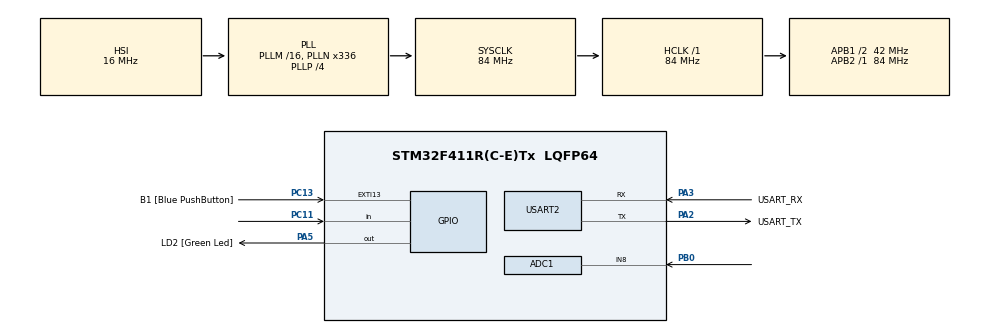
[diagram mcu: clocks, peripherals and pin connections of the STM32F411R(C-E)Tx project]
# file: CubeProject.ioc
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Mcu.Family=STM32F4
RCC.CortexFreq_Value=84000000
PA14.GPIO_Label=TCK
RCC.SYSCLKSource=RCC_SYSCLKSOURCE_PLLCLK
ProjectManager.StackSize=0x400
PH0\ -\ OSC_IN.Signal=RCC_OSC_IN
RCC.HCLKFreq_Value=84000000
RCC.APB2TimFreq_Value=84000000
Dma.ADC1.0.Direction=DMA_PERIPH_TO_MEMORY
NVIC.DMA2_Stream0_IRQn=true\:0\:0\:false\:false\:true\:false\:true
Dma.ADC1.0.MemDataAlignment=DMA_MDATAALIGN_HALFWORD
RCC.AHBFreq_Value=84000000
TIM3.ClockDivision=TIM_CLOCKDIVISION_DIV1
ADC1.Channel-0\#ChannelRegularConversion=ADC_CHANNEL_8
RCC.HSE_VALUE=8000000
ADC1.ScanConvMode=ENABLE
PC13-ANTI_TAMP.Signal=GPXTI13
PC14-OSC32_IN.Mode=LSE-External-Oscillator
PA14.Mode=Serial_Wire
TIM3.Prescaler=65535
Dma.ADC1.0.PeriphInc=DMA_PINC_DISABLE
SH.ADCx_IN8.0=ADC1_IN8,IN8
ADC1.SamplingTime-0\#ChannelRegularConversion=ADC_SAMPLETIME_3CYCLES
RCC.FLatency-AdvancedSettings=FLASH_LATENCY_2
Mcu.Package=LQFP64
TIM2.Prescaler=1000
USART2.VirtualMode=VM_ASYNC
PA2.GPIO_Label=USART_TX
TIM2.TIM_MasterOutputTrigger=TIM_TRGO_UPDATE
RCC.APB1TimFreq_Value=84000000
Dma.ADC1.0.FIFOMode=DMA_FIFOMODE_DISABLE
Dma.Request0=ADC1
VP_TIM3_VS_ClockSourceINT.Mode=Internal
PA3.Signal=USART2_RX
PB3.GPIO_Label=SWO
PC15-OSC32_OUT.Mode=LSE-External-Oscillator
Dma.ADC1.0.Instance=DMA2_Stream0
ADC1.Rank-0\#ChannelRegularConversion=1
PC13-ANTI_TAMP.GPIO_Label=B1 [Blue PushButton]
PC11.Signal=GPIO_Input
PH1\ -\ OSC_OUT.Mode=HSE-External-Oscillator
RCC.APB1CLKDivider=RCC_HCLK_DIV2
PC14-OSC32_IN.Signal=RCC_OSC32_IN
PA13.Signal=SYS_JTMS-SWDIO
PA3.Mode=Asynchronous
Dma.ADC1.0.PeriphDataAlignment=DMA_PDATAALIGN_HALFWORD
PH0\ -\ OSC_IN.Mode=HSE-External-Oscillator
ProjectManager.TargetToolchain=STM32CubeIDE
Dma.ADC1.0.Mode=DMA_CIRCULAR
Dma.ADC1.0.Priority=DMA_PRIORITY_LOW
PC15-OSC32_OUT.Signal=RCC_OSC32_OUT
PA5.Signal=GPIO_Output
PH1\ -\ OSC_OUT.Signal=RCC_OSC_OUT
board=NUCLEO-F411RE
RCC.VCOOutputFreq_Value=336000000
NVIC.TIM3_IRQn=true\:0\:0\:false\:false\:true\:true\:true
RCC.APB2Freq_Value=84000000
VP_TIM2_VS_ClockSourceINT.Mode=Internal
ADC1.DMAContinuousRequests=ENABLE
ADC1.NbrOfConversion=1
PA13.Mode=Serial_Wire
Mcu.Name=STM32F411R(C-E)Tx
PA13.GPIO_Label=TMS
PA2.Signal=USART2_TX
ADC1.ExternalTrigConv=ADC_EXTERNALTRIGCONV_T2_TRGO
RCC.48MHZClocksFreq_Value=84000000
PB3.Signal=SYS_JTDO-SWO
RCC.SYSCLKFreq_VALUE=84000000
ADC1.master=1
PA5.GPIO_Label=LD2 [Green Led]
PC13-ANTI_TAMP.GPIO_ModeDefaultEXTI=GPIO_MODE_IT_FALLING
PA14.Signal=SYS_JTCK-SWCLK
Dma.ADC1.0.MemInc=DMA_MINC_ENABLE
ProjectManager.HeapSize=0x200
RCC.HSI_VALUE=16000000
RCC.PLLP=RCC_PLLP_DIV4
NVIC.PriorityGroup=NVIC_PRIORITYGROUP_0
ADC1.NbrOfConversionFlag=1
RCC.PLLN=336
PA2.Mode=Asynchronous
TIM3.TIM_MasterOutputTrigger=TIM_TRGO_UPDATE
RCC.APB1Freq_Value=42000000
PB0.Signal=ADCx_IN8
PA3.GPIO_Label=USART_RX

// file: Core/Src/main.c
/* USER CODE BEGIN Header */
/**
  ******************************************************************************
  * @file           : main.c
  * @brief          : Main program body
  ******************************************************************************
  * @attention
  *
  * <h2><center>&copy; Copyright (c) 2021 STMicroelectronics.
  * All rights reserved.</center></h2>
  *
  * This software component is licensed by ST under BSD 3-Clause license,
  * the "License"; You may not use this file except in compliance with the
  * License. You may obtain a copy of the License at:
  *                        opensource.org/licenses/BSD-3-Clause
  *
  ******************************************************************************
  */
/* USER CODE END Header */
#include "main.h"

/* USER CODE BEGIN Includes */
#include <stdio.h>
/* USER CODE END Includes */

/* USER CODE BEGIN PTD */
typedef enum {
	INACTIVE = 0, ACTIVE
}STATE;

typedef struct {
	STATE state;
	uint32_t current;
	uint32_t target;
	uint8_t flag;
}VIRTUAL_TIMER;

/* USER CODE END PTD */

/* USER CODE BEGIN PD */
// -- Motion sensor pins -- //
#define MOTION_SENSOR_PIN GPIO_PIN_11
#define MOTION_SENSOR_PORT GPIOC

#define MAX_STEPS_CURTAIN 10000

#define WAKEUP_TIME 10 // time in seconds

/* USER CODE END PD */

ADC_HandleTypeDef hadc1;
DMA_HandleTypeDef hdma_adc1;

TIM_HandleTypeDef htim2;
TIM_HandleTypeDef htim3;

UART_HandleTypeDef huart2;

/* USER CODE BEGIN PV */
uint32_t lightRaw = 0;
volatile GPIO_PinState motion = 0;
volatile VIRTUAL_TIMER wakeupTimer;
volatile STATE systemState = ACTIVE;
/* USER CODE END PV */

void SystemClock_Config(void);
static void MX_GPIO_Init(void);
static void MX_DMA_Init(void);
static void MX_USART2_UART_Init(void);
static void MX_ADC1_Init(void);
static void MX_TIM2_Init(void);
static void MX_TIM3_Init(void);
/* USER CODE BEGIN PFP */
void VirtualTimer_Init(VIRTUAL_TIMER *);
void VirtualTimer_Increment(VIRTUAL_TIMER *);
void VirtualTimer_Restart(VIRTUAL_TIMER *);
void VirtualTimer_Disable(VIRTUAL_TIMER *);
uint8_t VirtualTimer_Finished(VIRTUAL_TIMER *);
/* USER CODE END PFP */

int main(void)
{

  /* MCU Configuration--------------------------------------------------------*/

  /* Reset of all peripherals, Initializes the Flash interface and the Systick. */
  HAL_Init();

  /* Configure the system clock */
  SystemClock_Config();

  /* Initialize all configured peripherals */
  MX_GPIO_Init();
  MX_DMA_Init();
  MX_USART2_UART_Init();
  MX_ADC1_Init();
  MX_TIM2_Init();
  MX_TIM3_Init();
  /* USER CODE BEGIN 2 */
  // Timer Initialization
  HAL_TIM_Base_Start(&htim2);
  HAL_TIM_Base_Start_IT(&htim3);
  // Circular sampling from 1 channel every 1ms
  HAL_ADC_Start_DMA(&hadc1, &lightRaw, 1);
  VirtualTimer_Init(&wakeupTimer);
  printf("Setup successful! \n\r");
  /* USER CODE END 2 */

  /* Infinite loop */
  /* USER CODE BEGIN WHILE */
  while (1)
  {
	  HAL_Delay(1000);
	  printf("LIGHT: %ld\n\r", lightRaw);
	  printf("MOTION: %d\n\r", (uint16_t)motion);
	  printf("WAKEUP: %d\n\r", (uint16_t)systemState);

    /* USER CODE END WHILE */

  }
}

void SystemClock_Config(void)
{
  RCC_OscInitTypeDef RCC_OscInitStruct = {0};
  RCC_ClkInitTypeDef RCC_ClkInitStruct = {0};

  /** Configure the main internal regulator output voltage
  */
  __HAL_RCC_PWR_CLK_ENABLE();
  __HAL_PWR_VOLTAGESCALING_CONFIG(PWR_REGULATOR_VOLTAGE_SCALE1);
  /** Initializes the RCC Oscillators according to the specified parameters
  * in the RCC_OscInitTypeDef structure.
  */
  RCC_OscInitStruct.OscillatorType = RCC_OSCILLATORTYPE_HSI;
  RCC_OscInitStruct.HSIState = RCC_HSI_ON;
  RCC_OscInitStruct.HSICalibrationValue = RCC_HSICALIBRATION_DEFAULT;
  RCC_OscInitStruct.PLL.PLLState = RCC_PLL_ON;
  RCC_OscInitStruct.PLL.PLLSource = RCC_PLLSOURCE_HSI;
  RCC_OscInitStruct.PLL.PLLM = 16;
  RCC_OscInitStruct.PLL.PLLN = 336;
  RCC_OscInitStruct.PLL.PLLP = RCC_PLLP_DIV4;
  RCC_OscInitStruct.PLL.PLLQ = 4;
  if (HAL_RCC_OscConfig(&RCC_OscInitStruct) != HAL_OK)
  {
    Error_Handler();
  }
  /** Initializes the CPU, AHB and APB buses clocks
  */
  RCC_ClkInitStruct.ClockType = RCC_CLOCKTYPE_HCLK|RCC_CLOCKTYPE_SYSCLK
                              |RCC_CLOCKTYPE_PCLK1|RCC_CLOCKTYPE_PCLK2;
  RCC_ClkInitStruct.SYSCLKSource = RCC_SYSCLKSOURCE_PLLCLK;
  RCC_ClkInitStruct.AHBCLKDivider = RCC_SYSCLK_DIV1;
  RCC_ClkInitStruct.APB1CLKDivider = RCC_HCLK_DIV2;
  RCC_ClkInitStruct.APB2CLKDivider = RCC_HCLK_DIV1;

  if (HAL_RCC_ClockConfig(&RCC_ClkInitStruct, FLASH_LATENCY_2) != HAL_OK)
  {
    Error_Handler();
  }
}

static void MX_ADC1_Init(void)
{

  ADC_ChannelConfTypeDef sConfig = {0};

  /** Configure the global features of the ADC (Clock, Resolution, Data Alignment and number of conversion)
  */
  hadc1.Instance = ADC1;
  hadc1.Init.ClockPrescaler = ADC_CLOCK_SYNC_PCLK_DIV4;
  hadc1.Init.Resolution = ADC_RESOLUTION_12B;
  hadc1.Init.ScanConvMode = ENABLE;
  hadc1.Init.ContinuousConvMode = DISABLE;
  hadc1.Init.DiscontinuousConvMode = DISABLE;
  hadc1.Init.ExternalTrigConvEdge = ADC_EXTERNALTRIGCONVEDGE_RISING;
  hadc1.Init.ExternalTrigConv = ADC_EXTERNALTRIGCONV_T2_TRGO;
  hadc1.Init.DataAlign = ADC_DATAALIGN_RIGHT;
  hadc1.Init.NbrOfConversion = 1;
  hadc1.Init.DMAContinuousRequests = ENABLE;
  hadc1.Init.EOCSelection = ADC_EOC_SINGLE_CONV;
  if (HAL_ADC_Init(&hadc1) != HAL_OK)
  {
    Error_Handler();
  }
  /** Configure for the selected ADC regular channel its corresponding rank in the sequencer and its sample time.
  */
  sConfig.Channel = ADC_CHANNEL_8;
  sConfig.Rank = 1;
  sConfig.SamplingTime = ADC_SAMPLETIME_3CYCLES;
  if (HAL_ADC_ConfigChannel(&hadc1, &sConfig) != HAL_OK)
  {
    Error_Handler();
  }

}

static void MX_TIM2_Init(void)
{

  TIM_ClockConfigTypeDef sClockSourceConfig = {0};
  TIM_MasterConfigTypeDef sMasterConfig = {0};

  /* USER CODE BEGIN TIM2_Init 1 */
 // 1ms triggering
  /* USER CODE END TIM2_Init 1 */
  htim2.Instance = TIM2;
  htim2.Init.Prescaler = 1000;
  htim2.Init.CounterMode = TIM_COUNTERMODE_UP;
  htim2.Init.Period = HAL_RCC_GetPCLK2Freq() / 1000000 - 1;
  htim2.Init.ClockDivision = TIM_CLOCKDIVISION_DIV1;
  htim2.Init.AutoReloadPreload = TIM_AUTORELOAD_PRELOAD_DISABLE;
  if (HAL_TIM_Base_Init(&htim2) != HAL_OK)
  {
    Error_Handler();
  }
  sClockSourceConfig.ClockSource = TIM_CLOCKSOURCE_INTERNAL;
  if (HAL_TIM_ConfigClockSource(&htim2, &sClockSourceConfig) != HAL_OK)
  {
    Error_Handler();
  }
  sMasterConfig.MasterOutputTrigger = TIM_TRGO_UPDATE;
  sMasterConfig.MasterSlaveMode = TIM_MASTERSLAVEMODE_DISABLE;
  if (HAL_TIMEx_MasterConfigSynchronization(&htim2, &sMasterConfig) != HAL_OK)
  {
    Error_Handler();
  }

}

static void MX_TIM3_Init(void)
{

  TIM_ClockConfigTypeDef sClockSourceConfig = {0};
  TIM_MasterConfigTypeDef sMasterConfig = {0};

  htim3.Instance = TIM3;
  htim3.Init.Prescaler = 10000;
  htim3.Init.CounterMode = TIM_COUNTERMODE_UP;
  htim3.Init.Period = HAL_RCC_GetPCLK2Freq() / 10000 - 1;
  htim3.Init.ClockDivision = TIM_CLOCKDIVISION_DIV1;
  htim3.Init.AutoReloadPreload = TIM_AUTORELOAD_PRELOAD_DISABLE;
  if (HAL_TIM_Base_Init(&htim3) != HAL_OK)
  {
    Error_Handler();
  }
  sClockSourceConfig.ClockSource = TIM_CLOCKSOURCE_INTERNAL;
  if (HAL_TIM_ConfigClockSource(&htim3, &sClockSourceConfig) != HAL_OK)
  {
    Error_Handler();
  }
  sMasterConfig.MasterOutputTrigger = TIM_TRGO_UPDATE;
  sMasterConfig.MasterSlaveMode = TIM_MASTERSLAVEMODE_DISABLE;
  if (HAL_TIMEx_MasterConfigSynchronization(&htim3, &sMasterConfig) != HAL_OK)
  {
    Error_Handler();
  }

}

static void MX_USART2_UART_Init(void)
{

  huart2.Instance = USART2;
  huart2.Init.BaudRate = 115200;
  huart2.Init.WordLength = UART_WORDLENGTH_8B;
  huart2.Init.StopBits = UART_STOPBITS_1;
  huart2.Init.Parity = UART_PARITY_NONE;
  huart2.Init.Mode = UART_MODE_TX_RX;
  huart2.Init.HwFlowCtl = UART_HWCONTROL_NONE;
  huart2.Init.OverSampling = UART_OVERSAMPLING_16;
  if (HAL_UART_Init(&huart2) != HAL_OK)
  {
    Error_Handler();
  }

}

static void MX_DMA_Init(void)
{

  /* DMA controller clock enable */
  __HAL_RCC_DMA2_CLK_ENABLE();

  /* DMA interrupt init */
  /* DMA2_Stream0_IRQn interrupt configuration */
  HAL_NVIC_SetPriority(DMA2_Stream0_IRQn, 0, 0);
  HAL_NVIC_EnableIRQ(DMA2_Stream0_IRQn);

}

static void MX_GPIO_Init(void)
{
  GPIO_InitTypeDef GPIO_InitStruct = {0};

  /* GPIO Ports Clock Enable */
  __HAL_RCC_GPIOC_CLK_ENABLE();
  __HAL_RCC_GPIOH_CLK_ENABLE();
  __HAL_RCC_GPIOA_CLK_ENABLE();
  __HAL_RCC_GPIOB_CLK_ENABLE();

  /*Configure GPIO pin Output Level */
  HAL_GPIO_WritePin(LD2_GPIO_Port, LD2_Pin, GPIO_PIN_RESET);

  /*Configure GPIO pin : B1_Pin */
  GPIO_InitStruct.Pin = B1_Pin;
  GPIO_InitStruct.Mode = GPIO_MODE_IT_FALLING;
  GPIO_InitStruct.Pull = GPIO_NOPULL;
  HAL_GPIO_Init(B1_GPIO_Port, &GPIO_InitStruct);

  /*Configure GPIO pin : LD2_Pin */
  GPIO_InitStruct.Pin = LD2_Pin;
  GPIO_InitStruct.Mode = GPIO_MODE_OUTPUT_PP;
  GPIO_InitStruct.Pull = GPIO_NOPULL;
  GPIO_InitStruct.Speed = GPIO_SPEED_FREQ_LOW;
  HAL_GPIO_Init(LD2_GPIO_Port, &GPIO_InitStruct);

  /*Configure GPIO pin : PC11 */
  GPIO_InitStruct.Pin = GPIO_PIN_11;
  GPIO_InitStruct.Mode = GPIO_MODE_INPUT;
  GPIO_InitStruct.Pull = GPIO_NOPULL;
  HAL_GPIO_Init(GPIOC, &GPIO_InitStruct);

}

/* USER CODE BEGIN 4 */

void VirtualTimer_Init(VIRTUAL_TIMER *vtim){
	vtim ->state = ACTIVE;
	vtim ->target = (uint32_t)WAKEUP_TIME;
	vtim ->flag = 0;
	vtim ->current = 0;
}
void VirtualTimer_Increment(VIRTUAL_TIMER *vtim){
	if((vtim ->current) < (vtim ->target)){
		vtim ->current++;
	}
	else{
		vtim ->current = 0;
		vtim ->flag = 1;
	}
}
void VirtualTimer_Restart(VIRTUAL_TIMER *vtim){
	vtim ->current = 0;
	vtim ->flag = 0;
}
uint8_t VirtualTimer_Finished(VIRTUAL_TIMER *vtim){
	return (vtim ->flag);
}
void VirtualTimer_Disable(VIRTUAL_TIMER *vtim){
	vtim ->state = INACTIVE;
	vtim ->target = 0;

	vtim ->current = 0;
}

// Used to check sampling frequency
void HAL_ADC_ConvCpltCallback(ADC_HandleTypeDef *hadc){

	// Sample motion sensor at same rate than
	//HAL_GPIO_TogglePin(LD2_GPIO_Port, LD2_Pin);

}

/*--------------------------------------------------------------------------
*	Name:			HAL_TIM_PeriodElapsedCallback
*	Description:	Callback when Tim3 interrupt occurs.
*	Parameters:		TIM_HandleTypeDef* htim: timer handler
*	Returns:		void
---------------------------------------------------------------------------*/
void HAL_TIM_PeriodElapsedCallback(TIM_HandleTypeDef* htim)
{
	HAL_GPIO_TogglePin(LD2_GPIO_Port, LD2_Pin); // debugging

	// Sample of motion sensor (always more than a second)
	motion = HAL_GPIO_ReadPin(MOTION_SENSOR_PORT, MOTION_SENSOR_PIN);
	// A second has passed
	VirtualTimer_Increment(&wakeupTimer);
	// Feed the wakeup timer if there is movement
	if (motion){
		VirtualTimer_Restart(&wakeupTimer);
		systemState = ACTIVE;
	} // Stop system if wake up timer is done
	else if(VirtualTimer_Finished(&wakeupTimer)){
		systemState = INACTIVE;
	}

}

/* USER CODE END 4 */

void Error_Handler(void)
{
  __disable_irq();
  while (1)
  {
  }
}

/************************ (C) COPYRIGHT STMicroelectronics *****END OF FILE****/
